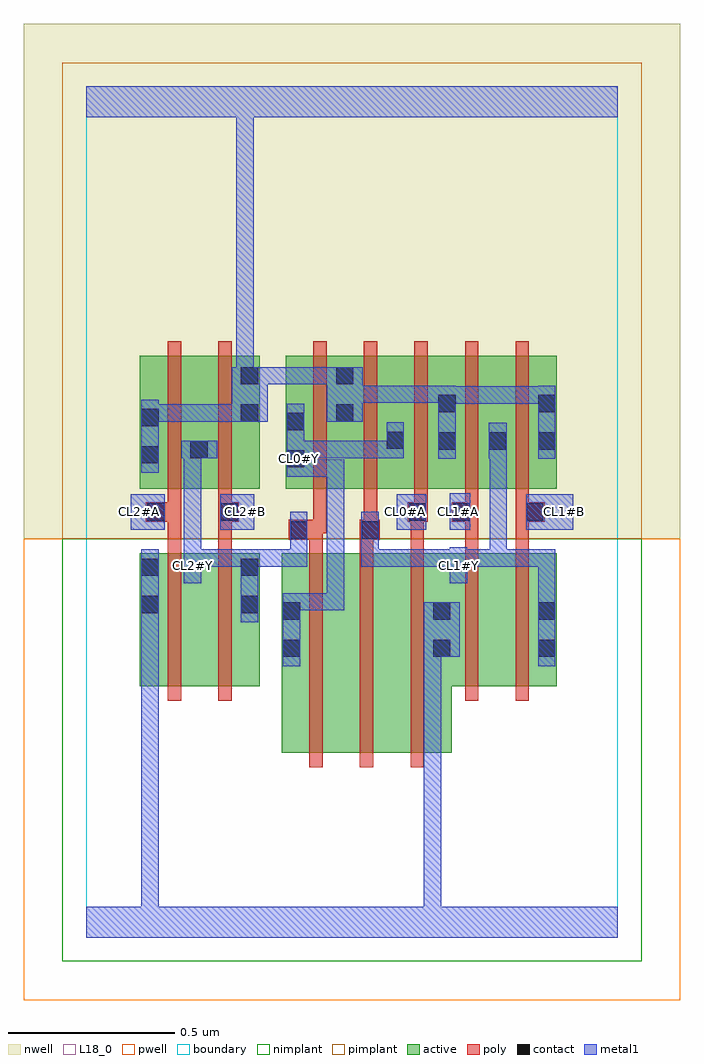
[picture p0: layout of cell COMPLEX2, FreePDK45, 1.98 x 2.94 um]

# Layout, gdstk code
import gdstk
lib = gdstk.Library(unit=1e-6, precision=1e-09)
def R(c, l, rs):  # rectangles x0, y0, x1, y1
    for r in rs: c.add(gdstk.rectangle(r[:2], r[2:], *l))
def A(c, l, x, y, w, h, nx, ny, dx, dy):  # array of equal rectangles
    R(c, l, [(x+i*dx, y+j*dy, x+i*dx+w, y+j*dy+h) for i in range(nx) for j in range(ny)])
active = (1, 0)
pwell = (2, 0)
nwell = (3, 0)
nimplant = (4, 0)
pimplant = (5, 0)
poly = (9, 0)
contact = (10, 0)
metal1 = (11, 0)
L18_0 = (18, 0)
boundary = (235, 0)

complex2 = lib.new_cell('COMPLEX2')
R(complex2, active, [(0.588,0.556,0.648,1.156), (0.588,0.556,0.768,1.156), (0.768,0.556,0.92,1.156), (0.92,0.556,1.1,1.156), (1.04,0.556,1.1,1.156), (0.162,0.756,0.222,1.156), (0.162,0.756,0.342,1.156), (0.342,0.756,0.522,1.156), (0.462,0.756,0.522,1.156), (1.04,0.756,1.236,1.156), (1.236,0.756,1.416,1.156), (1.356,0.756,1.416,1.156), (0.162,1.35,0.222,1.644), (0.162,1.35,0.37,1.75), (0.31,1.35,0.37,1.644), (0.31,1.35,0.522,1.75), (0.462,1.35,0.522,1.75), (0.6,1.35,0.66,1.644), (0.6,1.35,0.808,1.75), (0.748,1.35,0.96,1.75), (0.748,1.35,0.808,1.72), (0.9,1.35,0.96,1.644), (0.9,1.35,1.116,1.75), (1.056,1.35,1.116,1.644), (1.056,1.35,1.268,1.75), (1.208,1.35,1.268,1.644), (1.208,1.35,1.416,1.75), (1.356,1.35,1.416,1.644)])
R(complex2, pwell, [(-0.188,-0.188,1.788,1.2)])
R(complex2, nwell, [(-0.188,1.2,1.788,2.748)])
R(complex2, nimplant, [(-0.072,-0.072,1.672,1.2)])
R(complex2, pimplant, [(-0.072,1.2,1.672,2.632)])
A(complex2, poly, 0.672, 0.512, 0.04, 0.688, 3, 1, 0.152, 0)
A(complex2, poly, 0.988, 1.27, 0.04, 0.076, 3, 1, 0.152, 0)
A(complex2, poly, 0.684, 1.306, 0.04, 0.488, 5, 1, 0.152, 0)
R(complex2, poly, [(0.246,0.712,0.286,1.2), (0.398,0.712,0.438,1.2), (1.14,0.712,1.18,1.2), (1.292,0.712,1.332,1.2), (0.246,1.16,0.286,1.29), (0.398,1.16,0.438,1.29), (0.672,1.16,0.712,1.236), (0.824,1.16,0.864,1.236), (0.976,1.16,1.016,1.29), (1.14,1.16,1.18,1.29), (1.292,1.16,1.332,1.29), (0.61,1.196,0.712,1.256), (0.824,1.196,0.884,1.256), (0.672,1.216,0.712,1.256), (0.672,1.216,0.724,1.256), (0.684,1.216,0.724,1.346), (0.836,1.216,0.876,1.256), (0.836,1.216,0.876,1.256), (0.836,1.216,0.876,1.346), (0.18,1.25,0.286,1.31), (0.398,1.25,0.438,1.29), (0.398,1.25,0.438,1.29), (0.398,1.25,0.46,1.31), (0.968,1.25,1.028,1.31), (0.976,1.25,1.016,1.29), (0.976,1.25,1.016,1.29), (1.1,1.25,1.18,1.31), (1.14,1.25,1.18,1.29), (1.14,1.25,1.18,1.29), (1.292,1.25,1.332,1.29), (1.292,1.25,1.332,1.29), (1.292,1.25,1.38,1.31), (0.246,1.27,0.286,1.346), (0.246,1.27,0.286,1.31), (0.246,1.27,0.286,1.31), (0.398,1.27,0.438,1.346), (0.246,1.306,0.286,1.794), (0.398,1.306,0.438,1.794)])
R(complex2, contact, [(0.592,0.844,0.644,0.896), (1.044,0.844,1.096,0.896), (1.36,0.844,1.412,0.896), (0.592,0.956,0.644,1.008), (1.044,0.956,1.096,1.008), (1.36,0.956,1.412,1.008), (0.166,0.976,0.218,1.028), (0.466,0.976,0.518,1.028), (0.166,1.088,0.218,1.14), (0.466,1.088,0.518,1.14), (0.614,1.2,0.666,1.252), (0.828,1.2,0.88,1.252), (0.184,1.254,0.236,1.306), (0.404,1.254,0.456,1.306), (0.972,1.254,1.024,1.306), (1.104,1.254,1.156,1.306), (1.324,1.254,1.376,1.306), (0.604,1.414,0.656,1.466), (0.166,1.426,0.218,1.478), (0.314,1.442,0.366,1.494), (1.06,1.468,1.112,1.52), (1.212,1.468,1.264,1.52), (1.36,1.468,1.412,1.52), (0.904,1.47,0.956,1.522), (0.604,1.526,0.656,1.578), (0.166,1.538,0.218,1.59), (0.466,1.552,0.518,1.604), (0.752,1.552,0.804,1.604), (1.06,1.58,1.112,1.632), (1.36,1.58,1.412,1.632), (0.466,1.664,0.518,1.716), (0.752,1.664,0.804,1.716)])
R(complex2, metal1, [(0,0,1.6,0.092), (0.166,0.04,0.218,0.092), (0.166,0.04,0.218,0.092), (0.166,0.04,0.218,0.092), (0.166,0.04,0.218,0.092), (0.166,0.04,0.218,0.092), (0.166,0.04,0.218,0.092), (0.166,0.04,0.218,0.092), (0.166,0.04,0.218,0.092), (0.166,0.04,0.218,0.092), (0.166,0.04,0.218,0.092), (0.166,0.04,0.218,0.092), (0.166,0.04,0.218,0.092), (0.166,0.04,0.218,1), (1.016,0.04,1.068,0.092), (1.016,0.04,1.068,0.092), (1.016,0.04,1.068,0.092), (1.016,0.04,1.068,0.092), (1.016,0.04,1.068,0.092), (1.016,0.04,1.068,0.092), (1.016,0.04,1.068,0.896), (0.592,0.816,0.644,1.036), (1.36,0.816,1.412,1.036), (1.016,0.844,1.068,0.896), (1.016,0.844,1.068,0.896), (1.016,0.844,1.124,1.008), (0.166,0.948,0.218,1.168), (0.466,0.948,0.518,1.168), (0.592,0.984,0.722,1.036), (0.67,0.984,0.722,1.036), (0.67,0.984,0.776,1.036), (0.724,0.984,0.776,1.036), (0.724,0.984,0.776,1.438), (1.36,0.984,1.412,1.168), (0.294,1.066,0.346,1.174), (1.094,1.066,1.146,1.174), (0.294,1.116,0.346,1.168), (0.294,1.116,0.346,1.168), (0.294,1.116,0.518,1.168), (0.466,1.116,0.518,1.168), (0.466,1.116,0.518,1.168), (0.466,1.116,0.666,1.168), (0.614,1.116,0.666,1.224), (0.828,1.116,0.958,1.168), (0.828,1.116,0.88,1.28), (0.906,1.116,0.958,1.168), (0.906,1.116,0.99,1.168), (0.938,1.116,0.99,1.168), (0.938,1.116,1.146,1.168), (1.094,1.116,1.146,1.168), (1.094,1.116,1.146,1.168), (1.094,1.116,1.266,1.168), (1.214,1.116,1.266,1.168), (1.214,1.116,1.266,1.168), (1.214,1.116,1.266,1.168), (1.214,1.116,1.412,1.168), (1.214,1.116,1.266,1.492), (1.36,1.116,1.412,1.168), (1.36,1.116,1.412,1.168), (1.36,1.116,1.412,1.168), (0.294,1.122,0.346,1.174), (0.294,1.122,0.346,1.174), (0.294,1.122,0.346,1.494), (0.614,1.172,0.666,1.224), (0.614,1.172,0.666,1.28), (0.134,1.226,0.236,1.334), (0.404,1.226,0.506,1.334), (0.934,1.226,1.024,1.334), (1.094,1.226,1.156,1.336), (1.324,1.226,1.466,1.334), (0.604,1.386,0.656,1.606), (0.604,1.386,0.666,1.494), (0.614,1.386,0.776,1.438), (0.614,1.386,0.666,1.438), (0.614,1.386,0.666,1.438), (0.724,1.386,0.776,1.438), (0.724,1.386,0.776,1.438), (0.724,1.386,0.776,1.438), (0.166,1.398,0.218,1.618), (1.06,1.44,1.112,1.66), (1.212,1.44,1.266,1.548), (1.36,1.44,1.412,1.66), (0.286,1.442,0.394,1.494), (0.604,1.442,0.656,1.494), (0.604,1.442,0.656,1.494), (0.604,1.442,0.656,1.494), (0.604,1.442,0.846,1.494), (0.794,1.442,0.956,1.494), (0.794,1.442,0.846,1.494), (0.794,1.442,0.846,1.494), (0.794,1.442,0.846,1.494), (0.904,1.442,0.956,1.55), (0.166,1.552,0.218,1.604), (0.166,1.552,0.218,1.604), (0.166,1.552,0.346,1.604), (0.294,1.552,0.346,1.604), (0.294,1.552,0.346,1.604), (0.294,1.552,0.346,1.604), (0.294,1.552,0.49,1.604), (0.438,1.552,0.546,1.716), (0.724,1.552,0.832,1.716), (1.06,1.606,1.112,1.658), (1.06,1.606,1.112,1.658), (1.06,1.606,1.302,1.658), (1.25,1.606,1.412,1.658), (1.25,1.606,1.302,1.658), (1.25,1.606,1.302,1.658), (1.25,1.606,1.302,1.658), (0.78,1.608,0.832,1.66), (0.78,1.608,0.832,1.66), (0.78,1.608,0.958,1.66), (0.906,1.608,0.958,1.66), (0.906,1.608,0.99,1.66), (0.938,1.608,0.99,1.66), (0.938,1.608,1.112,1.66), (0.452,1.664,0.504,1.716), (0.452,1.664,0.504,1.716), (0.452,1.664,0.504,2.52), (0.494,1.664,0.546,1.716), (0.494,1.664,0.546,1.716), (0.494,1.664,0.722,1.716), (0.67,1.664,0.722,1.716), (0.67,1.664,0.776,1.716), (0,2.468,1.6,2.56), (0.452,2.468,0.504,2.52), (0.452,2.468,0.504,2.52), (0.452,2.468,0.504,2.52), (0.452,2.468,0.504,2.52), (0.452,2.468,0.504,2.52), (0.452,2.468,0.504,2.52), (0.452,2.468,0.504,2.52), (0.452,2.468,0.504,2.52), (0.452,2.468,0.504,2.52), (0.452,2.468,0.504,2.52), (0.452,2.468,0.504,2.52), (0.452,2.468,0.504,2.52), (0.452,2.468,0.504,2.52), (0.452,2.468,0.504,2.52)])
R(complex2, L18_0, [(0,0,1.6,0.092), (0.166,0.04,0.218,0.092), (0.166,0.04,0.218,0.092), (0.166,0.04,0.218,0.092), (0.166,0.04,0.218,0.092), (0.166,0.04,0.218,0.092), (0.166,0.04,0.218,0.092), (0.166,0.04,0.218,0.092), (0.166,0.04,0.218,0.092), (0.166,0.04,0.218,0.092), (0.166,0.04,0.218,0.092), (0.166,0.04,0.218,0.092), (0.166,0.04,0.218,0.092), (0.166,0.04,0.218,1), (1.016,0.04,1.068,0.092), (1.016,0.04,1.068,0.092), (1.016,0.04,1.068,0.092), (1.016,0.04,1.068,0.092), (1.016,0.04,1.068,0.092), (1.016,0.04,1.068,0.092), (1.016,0.04,1.068,0.896), (0.592,0.816,0.644,1.036), (1.36,0.816,1.412,1.036), (1.016,0.844,1.068,0.896), (1.016,0.844,1.068,0.896), (1.016,0.844,1.124,1.008), (0.166,0.948,0.218,1.168), (0.466,0.948,0.518,1.168), (0.592,0.984,0.722,1.036), (0.67,0.984,0.722,1.036), (0.67,0.984,0.776,1.036), (0.724,0.984,0.776,1.036), (0.724,0.984,0.776,1.438), (1.36,0.984,1.412,1.168), (0.294,1.066,0.346,1.174), (1.094,1.066,1.146,1.174), (0.294,1.094,0.346,1.146), (1.094,1.094,1.146,1.146), (0.294,1.116,0.346,1.168), (0.294,1.116,0.346,1.168), (0.294,1.116,0.518,1.168), (0.466,1.116,0.518,1.168), (0.466,1.116,0.518,1.168), (0.466,1.116,0.666,1.168), (0.614,1.116,0.666,1.224), (0.828,1.116,0.958,1.168), (0.828,1.116,0.88,1.28), (0.906,1.116,0.958,1.168), (0.906,1.116,0.99,1.168), (0.938,1.116,0.99,1.168), (0.938,1.116,1.146,1.168), (1.094,1.116,1.146,1.168), (1.094,1.116,1.146,1.168), (1.094,1.116,1.266,1.168), (1.214,1.116,1.266,1.168), (1.214,1.116,1.266,1.168), (1.214,1.116,1.266,1.168), (1.214,1.116,1.266,1.492), (1.214,1.116,1.412,1.168), (1.36,1.116,1.412,1.168), (1.36,1.116,1.412,1.168), (1.36,1.116,1.412,1.168), (0.294,1.122,0.346,1.174), (0.294,1.122,0.346,1.174), (0.294,1.122,0.346,1.494), (0.614,1.172,0.666,1.224), (0.614,1.172,0.666,1.28), (0.134,1.226,0.236,1.334), (0.404,1.226,0.506,1.334), (0.934,1.226,1.024,1.334), (1.094,1.226,1.156,1.336), (1.324,1.226,1.466,1.334), (0.134,1.254,0.186,1.306), (0.454,1.254,0.506,1.306), (0.934,1.254,0.986,1.306), (1.094,1.254,1.146,1.306), (1.414,1.254,1.466,1.306), (0.604,1.386,0.656,1.606), (0.604,1.386,0.666,1.494), (0.614,1.386,0.666,1.438), (0.614,1.386,0.666,1.438), (0.614,1.386,0.776,1.438), (0.724,1.386,0.776,1.438), (0.724,1.386,0.776,1.438), (0.724,1.386,0.776,1.438), (0.166,1.398,0.218,1.618), (0.614,1.414,0.666,1.466), (1.06,1.44,1.112,1.66), (1.212,1.44,1.266,1.548), (1.36,1.44,1.412,1.66), (0.286,1.442,0.394,1.494), (0.604,1.442,0.656,1.494), (0.604,1.442,0.656,1.494), (0.604,1.442,0.656,1.494), (0.604,1.442,0.846,1.494), (0.794,1.442,0.846,1.494), (0.794,1.442,0.846,1.494), (0.794,1.442,0.846,1.494), (0.794,1.442,0.956,1.494), (0.904,1.442,0.956,1.55), (0.166,1.552,0.218,1.604), (0.166,1.552,0.218,1.604), (0.166,1.552,0.346,1.604), (0.294,1.552,0.346,1.604), (0.294,1.552,0.346,1.604), (0.294,1.552,0.346,1.604), (0.294,1.552,0.49,1.604), (0.438,1.552,0.546,1.716), (0.724,1.552,0.832,1.716), (1.06,1.606,1.112,1.658), (1.06,1.606,1.112,1.658), (1.06,1.606,1.302,1.658), (1.25,1.606,1.302,1.658), (1.25,1.606,1.302,1.658), (1.25,1.606,1.302,1.658), (1.25,1.606,1.412,1.658), (0.78,1.608,0.832,1.66), (0.78,1.608,0.832,1.66), (0.78,1.608,0.958,1.66), (0.906,1.608,0.958,1.66), (0.906,1.608,0.99,1.66), (0.938,1.608,0.99,1.66), (0.938,1.608,1.112,1.66), (0.452,1.664,0.504,1.716), (0.452,1.664,0.504,1.716), (0.452,1.664,0.504,2.52), (0.494,1.664,0.546,1.716), (0.494,1.664,0.546,1.716), (0.494,1.664,0.722,1.716), (0.67,1.664,0.722,1.716), (0.67,1.664,0.776,1.716), (0,2.468,1.6,2.56), (0.452,2.468,0.504,2.52), (0.452,2.468,0.504,2.52), (0.452,2.468,0.504,2.52), (0.452,2.468,0.504,2.52), (0.452,2.468,0.504,2.52), (0.452,2.468,0.504,2.52), (0.452,2.468,0.504,2.52), (0.452,2.468,0.504,2.52), (0.452,2.468,0.504,2.52), (0.452,2.468,0.504,2.52), (0.452,2.468,0.504,2.52), (0.452,2.468,0.504,2.52), (0.452,2.468,0.504,2.52), (0.452,2.468,0.504,2.52)])
R(complex2, boundary, [(0,0,1.6,2.56)])
complex2.add(gdstk.Label('CL0#A', (0.96,1.28), layer=11, texttype=0))
complex2.add(gdstk.Label('CL0#Y', (0.64,1.44), layer=11, texttype=0))
complex2.add(gdstk.Label('CL1#A', (1.12,1.28), layer=11, texttype=0))
complex2.add(gdstk.Label('CL1#B', (1.44,1.28), layer=11, texttype=0))
complex2.add(gdstk.Label('CL1#Y', (1.12,1.12), layer=11, texttype=0))
complex2.add(gdstk.Label('CL2#A', (0.16,1.28), layer=11, texttype=0))
complex2.add(gdstk.Label('CL2#B', (0.48,1.28), layer=11, texttype=0))
complex2.add(gdstk.Label('CL2#Y', (0.32,1.12), layer=11, texttype=0))

lib.write_gds('COMPLEX2.gds')
